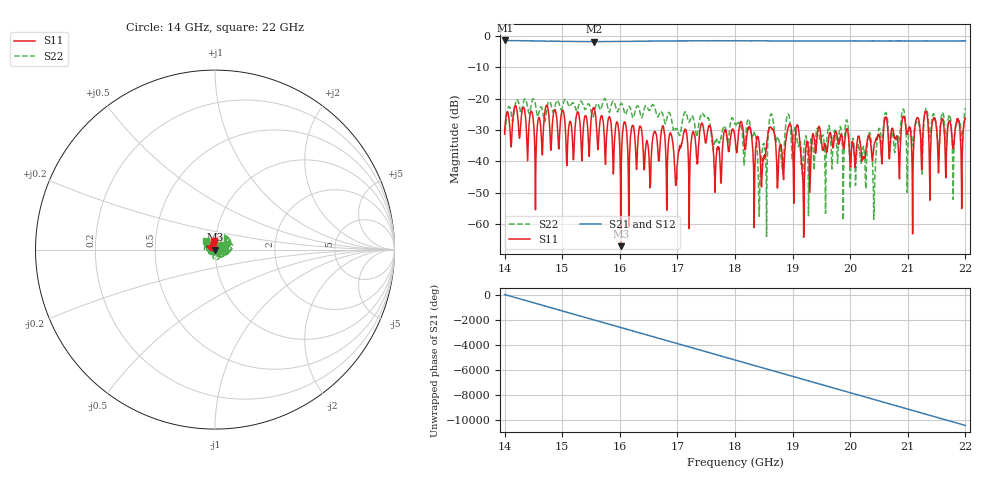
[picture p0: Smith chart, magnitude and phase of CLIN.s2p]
!Keysight Technologies,N5242A,MY56022913,Z.10.56.49
!Date: Friday, September 08, 2017 17:25:54
!Correction: S11(Full 2 Port(1,2))
!S21(Full 2 Port(1,2))
!S12(Full 2 Port(1,2))
!S22(Full 2 Port(1,2))
!S2P File: Measurements: S11, S21, S12, S22:
# Hz S  MA  R 50
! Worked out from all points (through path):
!   2001 points, 14 GHz to 22 GHz, reference 50 ohm
!   highest |S21| = -1.44 dB at 14 GHz (marker M1); lowest = -1.8 dB at 15.55 GHz (marker M2)
!   group delay of S21, straight-line fit = 3.63 ns
!   lowest |S11| = -67.0 dB at 16.02 GHz (marker M3), VSWR 1.00, Z = 50 + j0.0226 ohm
!   |S11| at or under -10 dB: start of sweep to end of sweep
!   |S22| runs from -64.0 to -20.0 dB; largest |S21 - S12| = 0.0074
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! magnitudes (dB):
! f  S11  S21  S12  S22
! 14 GHz  -31.3  -1.5  -1.4  -28.6
! 14 GHz  -29.8  -1.4  -1.5  -29.2
! 15.34 GHz  -38.2  -1.8  -1.8  -20.9
! 15.55 GHz  -23.0  -1.8  -1.8  -24.9
! 16.02 GHz  -67.0  -1.7  -1.7  -21.7
! 16.67 GHz  -38.2  -1.6  -1.6  -25.7
! 18 GHz  -32.5  -1.5  -1.5  -28.0
! 18.25 GHz  -29.0  -1.6  -1.6  -27.2
! 18.43 GHz  -35.9  -1.5  -1.6  -49.3
! 18.63 GHz  -29.2  -1.6  -1.6  -24.8
! 18.75 GHz  -44.5  -1.6  -1.6  -32.4
! 19.09 GHz  -28.8  -1.6  -1.6  -34.4
! 19.18 GHz  -46.5  -1.6  -1.6  -43.6
! 19.34 GHz  -32.7  -1.6  -1.6  -33.0
! 19.94 GHz  -29.6  -1.6  -1.6  -26.8
! 20.34 GHz  -31.9  -1.6  -1.6  -30.8
! 20.42 GHz  -34.5  -1.6  -1.6  -56.6
! 20.49 GHz  -31.3  -1.6  -1.6  -30.0
! 20.67 GHz  -35.8  -1.6  -1.6  -31.7
! 21.32 GHz  -24.1  -1.6  -1.6  -23.2
! 21.8 GHz  -34.3  -1.6  -1.6  -36.8
! 22 GHz  -26.2  -1.6  -1.6  -23.0
